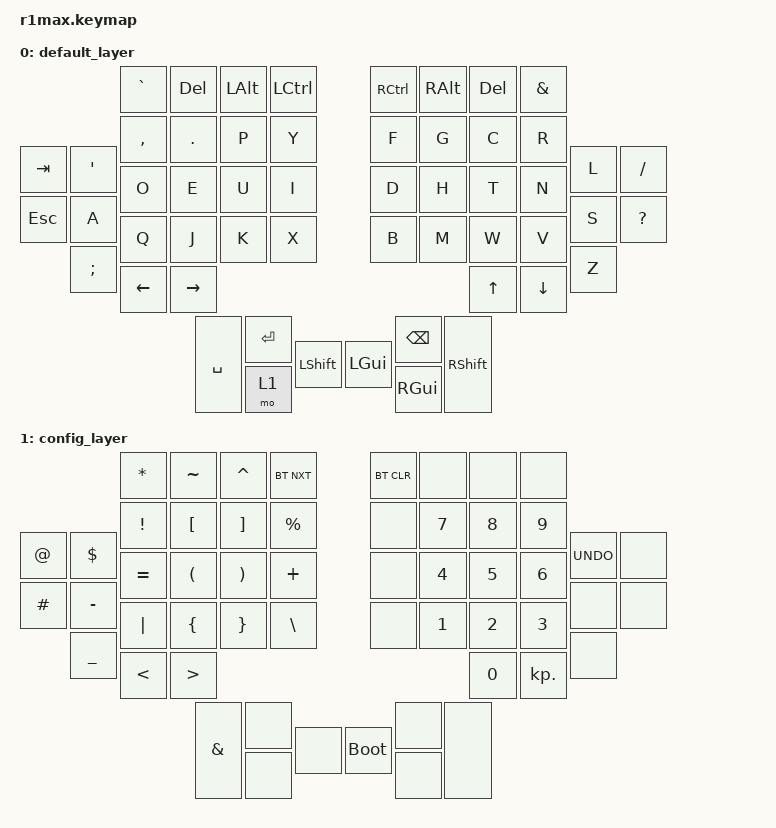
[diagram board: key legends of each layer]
#include <behaviors.dtsi>
#include <dt-bindings/zmk/keys.h>
#include <dt-bindings/zmk/bt.h>
#define L_CFG 1
#define BT(x) &bt BT_SEL x


/ {
    keymap {
        compatible = "zmk,keymap";
        default_layer {
            bindings = <
                            &kp GRAVE     &kp DEL       &kp LALT      &kp LCTRL          &kp RCTRL     &kp RALT      &kp DEL       &kp AMPS     
                            &kp COMMA     &kp DOT       &kp P         &kp Y              &kp F         &kp G         &kp C         &kp R                  
&kp TAB       &kp SQT       &kp O         &kp E         &kp U         &kp I              &kp D         &kp H         &kp T         &kp N         &kp L         &kp SLASH
&kp ESC       &kp A         &kp Q         &kp J         &kp K         &kp X              &kp B         &kp M         &kp W         &kp V         &kp S         &kp QMARK
              &kp SEMI      &kp LEFT      &kp RIGHT                                                                  &kp UP        &kp DOWN      &kp Z
                                          &kp SPACE     &kp RET       &kp LGUI         &kp RGUI        &mo 1         &kp BSPC
                                                        &kp LSHIFT                                     &kp RSHIFT 
            >;
        };
       
        config_layer{
            bindings = <
                                     &kp STAR &kp TILDE &kp CARET   &bt BT_NXT                     &bt BT_CLR &none    &none     &none 
                                     &kp EXCL &kp LBKT  &kp RBKT    &kp PRCNT                      &none     &kp N7    &kp N8    &kp N9 
            &kp AT         &kp DLLR &kp EQUAL &kp LPAR  &kp RPAR    &kp PLUS                       &none     &kp N4    &kp N5    &kp N6    &kp K_UNDO &none  
            &kp HASH       &kp MINUS &kp PIPE &kp LBRC  &kp RBRC    &kp BSLH                       &none     &kp N1    &kp N2    &kp N3    &none      &none  
                           &kp UNDER &kp LT   &kp GT                                                         &kp N0   &kp KP_DOT &none     
                                                        &kp AMPS &none &bootloader             &none &none &none 
                                                                 &none                               &none 
            >;
        }; 
        extra {
            status = "reserved";
        };

        extra1 {
            status = "reserved";
        };

        extra2 {
            status = "reserved";
        }; 

        extra3 {
            status = "reserved";
        }; 
    };
 };
